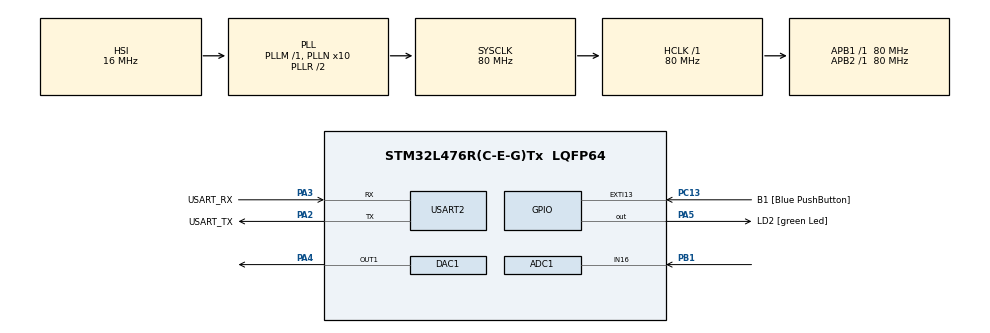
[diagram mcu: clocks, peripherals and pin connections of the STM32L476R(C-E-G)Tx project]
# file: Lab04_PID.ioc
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ADC1.Channel-0\#ChannelRegularConversion=ADC_CHANNEL_16
ADC1.ExternalTrigConv=ADC_EXTERNALTRIG_T6_TRGO
ADC1.NbrOfConversionFlag=1
ADC1.OffsetNumber-0\#ChannelRegularConversion=ADC_OFFSET_NONE
ADC1.Rank-0\#ChannelRegularConversion=1
ADC1.SamplingTime-0\#ChannelRegularConversion=ADC_SAMPLETIME_47CYCLES_5
ADC1.master=1
Mcu.Family=STM32L4
Mcu.Name=STM32L476R(C-E-G)Tx
Mcu.Package=LQFP64
NVIC.ADC1_2_IRQn=true\:0\:0\:false\:false\:true\:true\:true\:true
NVIC.PriorityGroup=NVIC_PRIORITYGROUP_4
NVIC.TIM6_DAC_IRQn=true\:0\:0\:false\:false\:true\:true\:true\:true
NVIC.TIM7_IRQn=true\:0\:0\:false\:false\:true\:true\:true\:true
PA13\ (JTMS-SWDIO).GPIO_Label=TMS
PA13\ (JTMS-SWDIO).Mode=Serial_Wire
PA13\ (JTMS-SWDIO).Signal=SYS_JTMS-SWDIO
PA14\ (JTCK-SWCLK).GPIO_Label=TCK
PA14\ (JTCK-SWCLK).Mode=Serial_Wire
PA14\ (JTCK-SWCLK).Signal=SYS_JTCK-SWCLK
PA2.GPIO_Label=USART_TX
PA2.GPIO_Mode=GPIO_MODE_AF_PP
PA2.GPIO_PuPd=GPIO_NOPULL
PA2.GPIO_Speed=GPIO_SPEED_FREQ_VERY_HIGH
PA2.Mode=Asynchronous
PA2.Signal=USART2_TX
PA3.GPIO_Label=USART_RX
PA3.GPIO_Mode=GPIO_MODE_AF_PP
PA3.GPIO_PuPd=GPIO_NOPULL
PA3.GPIO_Speed=GPIO_SPEED_FREQ_VERY_HIGH
PA3.Mode=Asynchronous
PA3.Signal=USART2_RX
PA4.Signal=COMP_DAC11_group
PA5.GPIO_Label=LD2 [green Led]
PA5.GPIO_ModeDefaultOutputPP=GPIO_MODE_OUTPUT_PP
PA5.GPIO_PuPd=GPIO_NOPULL
PA5.GPIO_Speed=GPIO_SPEED_FREQ_LOW
PA5.Signal=GPIO_Output
PB1.Signal=ADCx_IN16
PB3\ (JTDO-TRACESWO).GPIO_Label=SWO
PB3\ (JTDO-TRACESWO).Signal=SYS_JTDO-SWO
PC13.GPIO_Label=B1 [Blue PushButton]
PC13.GPIO_ModeDefaultEXTI=GPIO_MODE_IT_FALLING
PC13.GPIO_PuPd=GPIO_NOPULL
PC13.Signal=GPXTI13
PC14-OSC32_IN\ (PC14).Mode=LSE-External-Oscillator
PC14-OSC32_IN\ (PC14).Signal=RCC_OSC32_IN
PC15-OSC32_OUT\ (PC15).Mode=LSE-External-Oscillator
PC15-OSC32_OUT\ (PC15).Signal=RCC_OSC32_OUT
PH0-OSC_IN\ (PH0).Signal=RCC_OSC_IN
PH1-OSC_OUT\ (PH1).Signal=RCC_OSC_OUT
ProjectManager.HeapSize=0x200
ProjectManager.StackSize=0x400
ProjectManager.TargetToolchain=STM32CubeIDE
RCC.ADCFreq_Value=64000000
RCC.AHBFreq_Value=80000000
RCC.APB1Freq_Value=80000000
RCC.APB1TimFreq_Value=80000000
RCC.APB2Freq_Value=80000000
RCC.APB2TimFreq_Value=80000000
RCC.CortexFreq_Value=80000000
RCC.HCLKFreq_Value=80000000
RCC.HSE_VALUE=8000000
RCC.HSI_VALUE=16000000
RCC.MSI_VALUE=4000000
RCC.PLLN=10
RCC.PLLSourceVirtual=RCC_PLLSOURCE_HSI
RCC.PREFETCH_ENABLE=1
RCC.SYSCLKFreq_VALUE=80000000
RCC.SYSCLKSource=RCC_SYSCLKSOURCE_PLLCLK
RCC.USBFreq_Value=64000000
RCC.VCOOutputFreq_Value=160000000
SH.ADCx_IN16.0=ADC1_IN16,IN16-Single-Ended
SH.COMP_DAC11_group.0=DAC1_OUT1,DAC_OUT1
TIM6.Period=100-1
TIM6.Prescaler=800-1
TIM6.TIM_MasterOutputTrigger=TIM_TRGO_UPDATE
TIM7.Period=100-1
TIM7.Prescaler=800-1
USART2.VirtualMode-Asynchronous=VM_ASYNC
VP_TIM6_VS_ClockSourceINT.Mode=Enable_Timer
VP_TIM7_VS_ClockSourceINT.Mode=Enable_Timer
board=NUCLEO-L476RG

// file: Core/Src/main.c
/* USER CODE BEGIN Header */
/**
  ******************************************************************************
  * @file           : main.c
  * @brief          : Main program body
  ******************************************************************************
  * @attention
  *
  * Copyright (c) 2022 STMicroelectronics.
  * All rights reserved.
  *
  * This software is licensed under terms that can be found in the LICENSE file
  * in the root directory of this software component.
  * If no LICENSE file comes with this software, it is provided AS-IS.
  *
  ******************************************************************************
  */
/* USER CODE END Header */
#include "main.h"

/* USER CODE BEGIN Includes */
#include "pid.h"
#include <stdio.h>
/* USER CODE END Includes */

ADC_HandleTypeDef hadc1;

DAC_HandleTypeDef hdac1;

TIM_HandleTypeDef htim6;
TIM_HandleTypeDef htim7;

UART_HandleTypeDef huart2;

/* USER CODE BEGIN PV */
cpid_t pid;
volatile int flag = 0;
volatile int adc_flag = 0;
volatile int adc_value = 0;
volatile uint8_t dac_index = 0;
volatile int desired_value = 0;

int pid_control;

volatile uint8_t sin_n = 0;
uint16_t sin_wave[] = { 2048, 2112, 2176, 2239, 2302, 2364, 2424, 2483, 2541,
2596, 2649, 2700, 2748, 2794, 2836, 2876, 2912, 2945, 2974, 2999, 3021,
3039, 3053, 3063, 3069, 3071, 3069, 3063, 3053, 3039, 3021, 2999, 2974,
2945, 2912, 2876, 2836, 2794, 2748, 2700, 2649, 2596, 2541, 2483, 2424,
2364, 2302, 2239, 2176, 2112, 2048, 1983, 1919, 1856, 1793, 1731, 1671,
1612, 1554, 1499, 1446, 1395, 1347, 1301, 1259, 1219, 1183, 1150, 1121,
1096, 1074, 1056, 1042, 1032, 1026, 1024, 1026, 1032, 1042, 1056, 1074,
1096, 1121, 1150, 1183, 1219, 1259, 1301, 1347, 1395, 1446, 1499, 1554,
1612, 1671, 1731, 1793, 1856, 1919, 1983, };
//volatile int16_t desired_value[6] = {0, 10000, 20000, 30000, 20000, 10000};
/* USER CODE END PV */

void SystemClock_Config(void);
static void MX_GPIO_Init(void);
static void MX_USART2_UART_Init(void);
static void MX_ADC1_Init(void);
static void MX_TIM6_Init(void);
static void MX_TIM7_Init(void);
static void MX_DAC1_Init(void);

/* USER CODE BEGIN 0 */
int _write(int file, char* message, int len)
{
	HAL_UART_Transmit(&huart2, (uint8_t*)message, len, 2);
	return len;
}

void HAL_TIM_PeriodElapsedCallback(TIM_HandleTypeDef *htim)
{
	if(htim == &htim7)
	{
		if(sin_n < 100)
		{
			desired_value = sin_wave[sin_n];
			++sin_n;
		}
		else
		{
			sin_n = 0;
			desired_value = sin_wave[sin_n];
		}
//		if(!HAL_GPIO_ReadPin(B1_GPIO_Port, B1_Pin))
//			desired_value = 2045;
//		else
//			desired_value = 0;
	}
}

void HAL_ADC_ConvCpltCallback(ADC_HandleTypeDef* hadc)
{
	if(hadc == &hadc1)
	{
		adc_flag = 1;
		adc_value = HAL_ADC_GetValue(&hadc1);

	}
}
/* USER CODE END 0 */

int main(void)
{

  /* MCU Configuration--------------------------------------------------------*/

  /* Reset of all peripherals, Initializes the Flash interface and the Systick. */
  HAL_Init();

  /* USER CODE BEGIN Init */
//  pid_init(&pid, 0.35f, 2.4, 0.4, 10, 1);
  pid_init(&pid, 1.2f, 2.0, 0.4, 10, 1);
  pid.p_max = pid_scale(&pid, 4095);
  pid.p_min = pid_scale(&pid, -4095);
  pid.i_max = pid_scale(&pid, 4095);
  pid.i_min = pid_scale(&pid, -4095);
  pid.d_max = pid_scale(&pid, 4095);
  pid.d_min = pid_scale(&pid, -4095);
  pid.total_max = pid_scale(&pid, 4095);
  pid.total_min = pid_scale(&pid, 0);
  /* USER CODE END Init */

  /* Configure the system clock */
  SystemClock_Config();

  /* Initialize all configured peripherals */
  MX_GPIO_Init();
  MX_USART2_UART_Init();
  MX_ADC1_Init();
  MX_TIM6_Init();
  MX_TIM7_Init();
  MX_DAC1_Init();
  /* USER CODE BEGIN 2 */

  HAL_DAC_SetValue(&hdac1, DAC1_CHANNEL_1, DAC_ALIGN_12B_R, 0);
  HAL_DAC_Start(&hdac1, DAC1_CHANNEL_1);

  HAL_TIM_Base_Start(&htim6);
  HAL_TIM_Base_Start_IT(&htim7);
  HAL_ADC_Start_IT(&hadc1);
  /* USER CODE END 2 */

  /* Infinite loop */
  /* USER CODE BEGIN WHILE */
  while (1)
  {
	  if(adc_flag == 1)
	  {
		  adc_flag = 0;
		  pid_control = pid_calc(&pid, adc_value, desired_value);
		  HAL_DAC_SetValue(&hdac1, DAC1_CHANNEL_1, DAC_ALIGN_12B_R, pid_control);
		  printf("%4d;%4d;%4d\n\r", adc_value, pid_control, desired_value);
		  HAL_ADC_Start_IT(&hadc1);
	  }

    /* USER CODE END WHILE */

  }
}

void SystemClock_Config(void)
{
  RCC_OscInitTypeDef RCC_OscInitStruct = {0};
  RCC_ClkInitTypeDef RCC_ClkInitStruct = {0};

  /** Configure the main internal regulator output voltage
  */
  if (HAL_PWREx_ControlVoltageScaling(PWR_REGULATOR_VOLTAGE_SCALE1) != HAL_OK)
  {
    Error_Handler();
  }

  /** Initializes the RCC Oscillators according to the specified parameters
  * in the RCC_OscInitTypeDef structure.
  */
  RCC_OscInitStruct.OscillatorType = RCC_OSCILLATORTYPE_HSI;
  RCC_OscInitStruct.HSIState = RCC_HSI_ON;
  RCC_OscInitStruct.HSICalibrationValue = RCC_HSICALIBRATION_DEFAULT;
  RCC_OscInitStruct.PLL.PLLState = RCC_PLL_ON;
  RCC_OscInitStruct.PLL.PLLSource = RCC_PLLSOURCE_HSI;
  RCC_OscInitStruct.PLL.PLLM = 1;
  RCC_OscInitStruct.PLL.PLLN = 10;
  RCC_OscInitStruct.PLL.PLLP = RCC_PLLP_DIV7;
  RCC_OscInitStruct.PLL.PLLQ = RCC_PLLQ_DIV2;
  RCC_OscInitStruct.PLL.PLLR = RCC_PLLR_DIV2;
  if (HAL_RCC_OscConfig(&RCC_OscInitStruct) != HAL_OK)
  {
    Error_Handler();
  }

  /** Initializes the CPU, AHB and APB buses clocks
  */
  RCC_ClkInitStruct.ClockType = RCC_CLOCKTYPE_HCLK|RCC_CLOCKTYPE_SYSCLK
                              |RCC_CLOCKTYPE_PCLK1|RCC_CLOCKTYPE_PCLK2;
  RCC_ClkInitStruct.SYSCLKSource = RCC_SYSCLKSOURCE_PLLCLK;
  RCC_ClkInitStruct.AHBCLKDivider = RCC_SYSCLK_DIV1;
  RCC_ClkInitStruct.APB1CLKDivider = RCC_HCLK_DIV1;
  RCC_ClkInitStruct.APB2CLKDivider = RCC_HCLK_DIV1;

  if (HAL_RCC_ClockConfig(&RCC_ClkInitStruct, FLASH_LATENCY_4) != HAL_OK)
  {
    Error_Handler();
  }
}

static void MX_ADC1_Init(void)
{

  ADC_MultiModeTypeDef multimode = {0};
  ADC_ChannelConfTypeDef sConfig = {0};

  /** Common config
  */
  hadc1.Instance = ADC1;
  hadc1.Init.ClockPrescaler = ADC_CLOCK_ASYNC_DIV1;
  hadc1.Init.Resolution = ADC_RESOLUTION_12B;
  hadc1.Init.DataAlign = ADC_DATAALIGN_RIGHT;
  hadc1.Init.ScanConvMode = ADC_SCAN_DISABLE;
  hadc1.Init.EOCSelection = ADC_EOC_SINGLE_CONV;
  hadc1.Init.LowPowerAutoWait = DISABLE;
  hadc1.Init.ContinuousConvMode = DISABLE;
  hadc1.Init.NbrOfConversion = 1;
  hadc1.Init.DiscontinuousConvMode = DISABLE;
  hadc1.Init.ExternalTrigConv = ADC_EXTERNALTRIG_T6_TRGO;
  hadc1.Init.ExternalTrigConvEdge = ADC_EXTERNALTRIGCONVEDGE_RISING;
  hadc1.Init.DMAContinuousRequests = DISABLE;
  hadc1.Init.Overrun = ADC_OVR_DATA_PRESERVED;
  hadc1.Init.OversamplingMode = DISABLE;
  if (HAL_ADC_Init(&hadc1) != HAL_OK)
  {
    Error_Handler();
  }

  /** Configure the ADC multi-mode
  */
  multimode.Mode = ADC_MODE_INDEPENDENT;
  if (HAL_ADCEx_MultiModeConfigChannel(&hadc1, &multimode) != HAL_OK)
  {
    Error_Handler();
  }

  /** Configure Regular Channel
  */
  sConfig.Channel = ADC_CHANNEL_16;
  sConfig.Rank = ADC_REGULAR_RANK_1;
  sConfig.SamplingTime = ADC_SAMPLETIME_47CYCLES_5;
  sConfig.SingleDiff = ADC_SINGLE_ENDED;
  sConfig.OffsetNumber = ADC_OFFSET_NONE;
  sConfig.Offset = 0;
  if (HAL_ADC_ConfigChannel(&hadc1, &sConfig) != HAL_OK)
  {
    Error_Handler();
  }

}

static void MX_DAC1_Init(void)
{

  DAC_ChannelConfTypeDef sConfig = {0};

  /** DAC Initialization
  */
  hdac1.Instance = DAC1;
  if (HAL_DAC_Init(&hdac1) != HAL_OK)
  {
    Error_Handler();
  }

  /** DAC channel OUT1 config
  */
  sConfig.DAC_SampleAndHold = DAC_SAMPLEANDHOLD_DISABLE;
  sConfig.DAC_Trigger = DAC_TRIGGER_NONE;
  sConfig.DAC_OutputBuffer = DAC_OUTPUTBUFFER_ENABLE;
  sConfig.DAC_ConnectOnChipPeripheral = DAC_CHIPCONNECT_DISABLE;
  sConfig.DAC_UserTrimming = DAC_TRIMMING_FACTORY;
  if (HAL_DAC_ConfigChannel(&hdac1, &sConfig, DAC_CHANNEL_1) != HAL_OK)
  {
    Error_Handler();
  }

}

static void MX_TIM6_Init(void)
{

  TIM_MasterConfigTypeDef sMasterConfig = {0};

  htim6.Instance = TIM6;
  htim6.Init.Prescaler = 800-1;
  htim6.Init.CounterMode = TIM_COUNTERMODE_UP;
  htim6.Init.Period = 100-1;
  htim6.Init.AutoReloadPreload = TIM_AUTORELOAD_PRELOAD_DISABLE;
  if (HAL_TIM_Base_Init(&htim6) != HAL_OK)
  {
    Error_Handler();
  }
  sMasterConfig.MasterOutputTrigger = TIM_TRGO_UPDATE;
  sMasterConfig.MasterSlaveMode = TIM_MASTERSLAVEMODE_DISABLE;
  if (HAL_TIMEx_MasterConfigSynchronization(&htim6, &sMasterConfig) != HAL_OK)
  {
    Error_Handler();
  }

}

static void MX_TIM7_Init(void)
{

  TIM_MasterConfigTypeDef sMasterConfig = {0};

  htim7.Instance = TIM7;
  htim7.Init.Prescaler = 800-1;
  htim7.Init.CounterMode = TIM_COUNTERMODE_UP;
  htim7.Init.Period = 100-1;
  htim7.Init.AutoReloadPreload = TIM_AUTORELOAD_PRELOAD_DISABLE;
  if (HAL_TIM_Base_Init(&htim7) != HAL_OK)
  {
    Error_Handler();
  }
  sMasterConfig.MasterOutputTrigger = TIM_TRGO_RESET;
  sMasterConfig.MasterSlaveMode = TIM_MASTERSLAVEMODE_DISABLE;
  if (HAL_TIMEx_MasterConfigSynchronization(&htim7, &sMasterConfig) != HAL_OK)
  {
    Error_Handler();
  }

}

static void MX_USART2_UART_Init(void)
{

  huart2.Instance = USART2;
  huart2.Init.BaudRate = 115200;
  huart2.Init.WordLength = UART_WORDLENGTH_8B;
  huart2.Init.StopBits = UART_STOPBITS_1;
  huart2.Init.Parity = UART_PARITY_NONE;
  huart2.Init.Mode = UART_MODE_TX_RX;
  huart2.Init.HwFlowCtl = UART_HWCONTROL_NONE;
  huart2.Init.OverSampling = UART_OVERSAMPLING_16;
  huart2.Init.OneBitSampling = UART_ONE_BIT_SAMPLE_DISABLE;
  huart2.AdvancedInit.AdvFeatureInit = UART_ADVFEATURE_NO_INIT;
  if (HAL_UART_Init(&huart2) != HAL_OK)
  {
    Error_Handler();
  }

}

static void MX_GPIO_Init(void)
{
  GPIO_InitTypeDef GPIO_InitStruct = {0};

  /* GPIO Ports Clock Enable */
  __HAL_RCC_GPIOC_CLK_ENABLE();
  __HAL_RCC_GPIOH_CLK_ENABLE();
  __HAL_RCC_GPIOA_CLK_ENABLE();
  __HAL_RCC_GPIOB_CLK_ENABLE();

  /*Configure GPIO pin Output Level */
  HAL_GPIO_WritePin(LD2_GPIO_Port, LD2_Pin, GPIO_PIN_RESET);

  /*Configure GPIO pin : B1_Pin */
  GPIO_InitStruct.Pin = B1_Pin;
  GPIO_InitStruct.Mode = GPIO_MODE_IT_FALLING;
  GPIO_InitStruct.Pull = GPIO_NOPULL;
  HAL_GPIO_Init(B1_GPIO_Port, &GPIO_InitStruct);

  /*Configure GPIO pin : LD2_Pin */
  GPIO_InitStruct.Pin = LD2_Pin;
  GPIO_InitStruct.Mode = GPIO_MODE_OUTPUT_PP;
  GPIO_InitStruct.Pull = GPIO_NOPULL;
  GPIO_InitStruct.Speed = GPIO_SPEED_FREQ_LOW;
  HAL_GPIO_Init(LD2_GPIO_Port, &GPIO_InitStruct);

}

void Error_Handler(void)
{
  __disable_irq();
  while (1)
  {
  }
}
